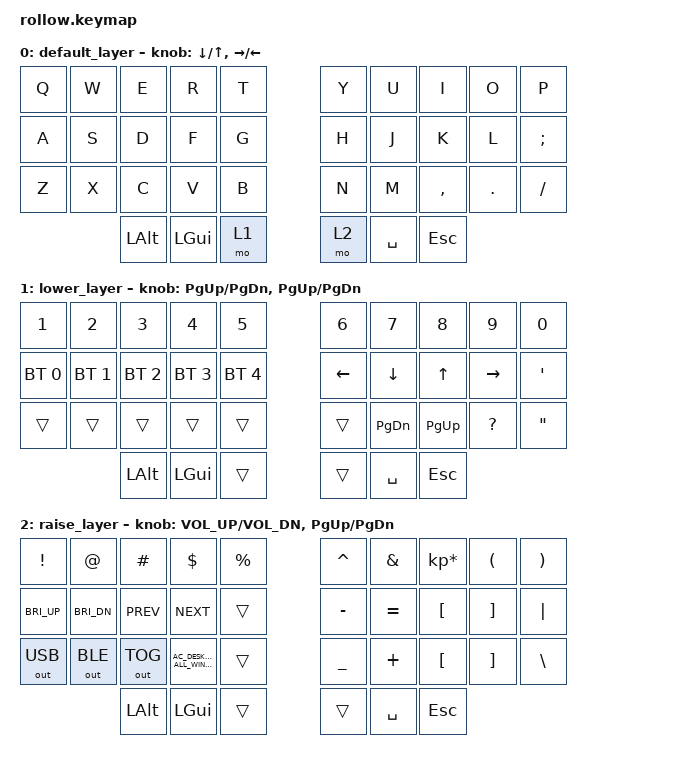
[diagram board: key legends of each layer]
/*
 * Copyright (c) 2020 The ZMK Contributors
 *
 * SPDX-License-Identifier: MIT
 */

#include <behaviors.dtsi>
#include <dt-bindings/zmk/bt.h>
#include <dt-bindings/zmk/keys.h>
#include <dt-bindings/zmk/outputs.h>

#define COL   0
#define COLL  1
#define COLR  2

/ {
        behaviors {
        tp: tap_mods {
            compatible = "zmk,behavior-hold-tap";
            label = "TAP_MODS";
            #binding-cells = <2>;
            tapping_term_ms = <200>;
            flavor = "tap-preferred";
            bindings = <&kp>, <&kp>;
                };
         };


        keymap {
                compatible = "zmk,keymap";

                default_layer {
/* Default
 * .-----------------------------------------.                    .-----------------------------------------.
 * | TAB  |   Q  |   W  |   E  |   R  |   T  |                    |   Y  |   U  |   I  |   O  |   P  | BKSP |
 * |------+------+------+------+------+------|                    |------+------+------+------+------+------|
 * | CTRL |   A  |   S  |   D  |   F  |   G  |                    |   H  |   J  |   K  |   L  |   ;  | ENT  |
 * |------+------+------+------+------+------|                    |------+------+------+------+------+------|
 * | SHFT |   Z  |   X  |   C  |   V  |   B  |-------.    .-------|   N  |   M  |   ,  |   .  |   /  | SHFT |
 * '-----------------------------------------/       /     \      \-----------------------------------------'
 *                          |  ALT |  CMD | /  LWR  /       \TT(RS)\  | SPACE| ESC  |
 *                          |      |      |/       /         \      \ |      |      |
 *                          '-------------''------'           '------''-------------'
 *
 *   Encoder Left: Up <-> Down
 *   Encoder Right: Left <-> Right
 */
                        bindings = <
   &kp Q &kp W &kp E &kp R &kp T   &kp Y &kp U  &kp I     &kp O   &kp P
   &kp A &kp S &kp D &kp F &kp G   &kp H &kp J  &kp K     &kp L   &kp SEMI
   &kp Z &kp X &kp C &kp V &kp B   &kp N &kp M  &kp COMMA &kp DOT &kp FSLH
                   &kp LALT &kp LGUI &mo 1   &mo 2 &kp SPACE &kp ESC
                        >;

                        sensor-bindings = <&inc_dec_kp DOWN UP &inc_dec_kp RIGHT LEFT>;
                };

                lower_layer {
/* LOWER
 * .-----------------------------------------.                    .-----------------------------------------.
 * |  ESC |   1  |  2   |  3   |  4   |  5   |                    |   6  |   7  |   8  |   9  |   0  | BKSP |
 * |------+------+------+------+------+------|                    |------+------+------+------+------+------|
 * | BTCLR| BT1  | BT2  | BT3  | BT4  | BT5  |                    |  LFT |  DWN |   UP |  RGT |   '  | ENT  |
 * |------+------+------+------+------+------|                    |------+------+------+------+------+------|
 * | SHFT |      |      |      |      |      |-------.    .-------|      | PG_DN| PG_UP|   ?  |   "  | SHFT |
 * '-----------------------------------------/       /     \      \-----------------------------------------'
 *                          |  ALT |  CMD | /       /       \      \  | SPACE|  ESC |
 *                          |      |      |/       /         \      \ |      |      |
 *                          '-------------''------'           '------''-------------'
 * 
 *   Encoder Left: PG_UP <-> PG_DN
 *   Encoder Right: -
 */
                        bindings = <
    &kp N1       &kp N2       &kp N3       &kp N4       &kp N5         &kp N6   &kp N7    &kp N8    &kp N9    &kp N0
    &bt BT_SEL 0 &bt BT_SEL 1 &bt BT_SEL 2 &bt BT_SEL 3 &bt BT_SEL 4   &kp LEFT &kp DOWN  &kp UP    &kp RIGHT &kp SQT
    &trans       &trans       &trans       &trans       &trans         &trans   &kp PG_DN &kp PG_UP &kp QMARK &kp DQT
                                        &kp LALT     &kp LGUI     &trans         &trans   &kp SPACE &kp ESC
                            >;

                            sensor-bindings = <&inc_dec_kp PG_UP PG_DN &inc_dec_kp PG_UP PG_DN>;
                };

                raise_layer {
/* RAISE
 * .-----------------------------------------.                    .-----------------------------------------.
 * | ESC  |   !  |   @  |   #  |   $  |   %  |                    |   ^  |   &  |   *  |   (  |   )  | BKSP |
 * |------+------+------+------+------+------|                    |------+------+------+------+------+------|
 * | CTRL |BRI_UP|BRI_DN| Prev | Next |      |                    |   -  |   =  |   [  |   ]  |  "|" |   `  |
 * |------+------+------+------+------+------|                    |------+------+------+------+------+------|
 * | SHFT |OT_USB|OT_BLE|OT_TOG|SH_WDN|      |-------.    .-------|   _  |   +  |   {  |   }  |   \  |   ~  |
 * '-----------------------------------------/       /     \      \-----------------------------------------'
 *                          | ALT  | CMD  | /       /       \      \  | SPACE|  ESC |
 *                          |      |      |/       /         \      \ |      |      |
 *                          '------------''------'            '------''-------------'
 *
 *   Encoder Left: -
 *   Encoder Right: VOL_UP <-> VOL_D
 */
                        bindings = <
    &kp EXCL      &kp AT         &kp HASH      &kp DLLR                          &kp PRCNT   &kp CARET &kp AMPS  &kp KP_MULTIPLY &kp LPAR &kp RPAR
    &kp C_BRI_UP  &kp C_BRI_DN   &kp C_PREV    &kp C_NEXT                        &trans      &kp MINUS &kp EQUAL &kp LBKT        &kp RBKT &kp PIPE
    &out OUT_USB  &out OUT_BLE   &out OUT_TOG  &kp C_AC_DESKTOP_SHOW_ALL_WINDOWS &trans      &kp UNDER &kp PLUS  &kp LBKT        &kp RBKT &kp BSLH
                            &kp LALT       &kp LGUI      &trans                                        &trans    &kp SPACE &kp ESC
                        >;
   
                        sensor-bindings = <&inc_dec_kp C_VOL_UP C_VOL_DN &inc_dec_kp PG_UP PG_DN>;
                };
 
        };
};
